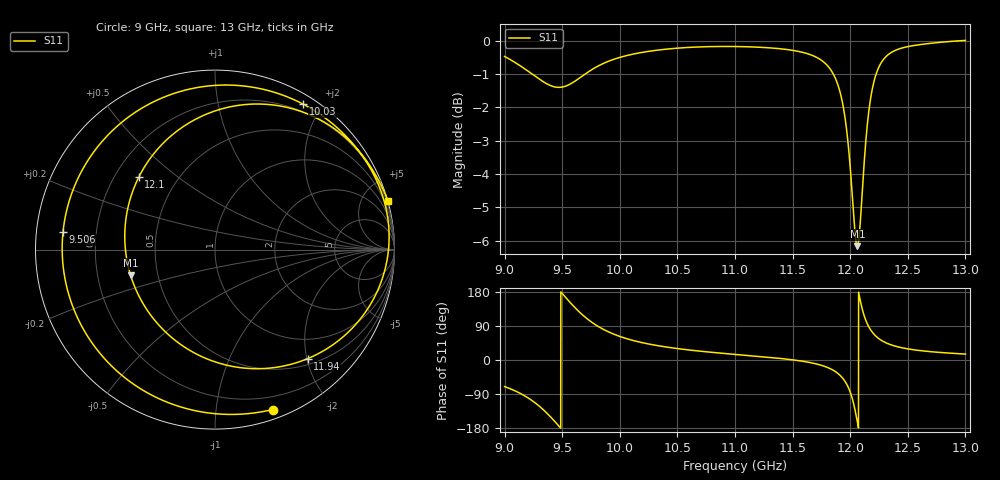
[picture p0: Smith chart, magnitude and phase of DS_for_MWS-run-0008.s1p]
! TOUCHSTONE file generated by CST DESIGN STUDIO
! Date and time: Wed Feb  5 13:40:36 2025
! Project name: C:\Work\MatlabApps\UnitCellOptimizationMatlab\CST\unitcell.cst
! Tree item: Tasks\Sweep1\SPara1\S-Parameters
! Header version: 2024
! Port assignment regex: !\s*Touchstone port\s*([0-9]+)\s*=\s*(CST MWS port|CST DES external port|CST DES block port)\s*(.+)\s* \(\"(.*)\"\)(\s*mode\s*([0-9]+))?.*
! Touchstone port assignment:
! Touchstone port 1 = CST DES external port 1 ("")
# GHz S MA R 50
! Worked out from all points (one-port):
!   4001 points, 9 GHz to 13 GHz, reference 50 ohm
!   lowest |S11| = -6.2 dB at 12.06 GHz (marker M1), VSWR 2.93, Z = 17.4 - j6.55 ohm
!   |S11| at or under -10 dB: nowhere
!   S11 on the Smith chart (normalised r, x): 9 GHz: 0.08, -1.42; 9.506 GHz: 0.08, +0.06; 10.03 GHz: 0.11, +1.77; 11.94 GHz: 0.60, -2.02; 12.1 GHz: 0.30, +0.37; 13 GHz: -0.03, +7.29
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9  0.9472 -70.2
9.165  0.9099 -92.9
9.282  0.8804 -117.1
9.409  0.8551 -153.4
9.5  0.8521 175.5
9.506  0.8525 173.4
9.616  0.8708 136.6
9.714  0.8949 109.4
9.829  0.9196 85.6
10  0.9441 62.2
10.033  0.9475 58.8
10.234  0.9631 43.2
10.5  0.9747 30.2
11  0.9803 14.8
11.5  0.9674 0.4
11.8  0.9187 -19.3
11.88  0.871 -32.4
11.939  0.7973 -49.6
12  0.6462 -84.5
12.03  0.5478 -115.5
12.062  0.4915 -163.1
12.103  0.5863 136.3
12.131  0.691 108.4
12.162  0.7846 87.4
12.257  0.9189 54.5
12.354  0.9597 40.1
12.5  0.98 29.4
13  1.001 15.6
